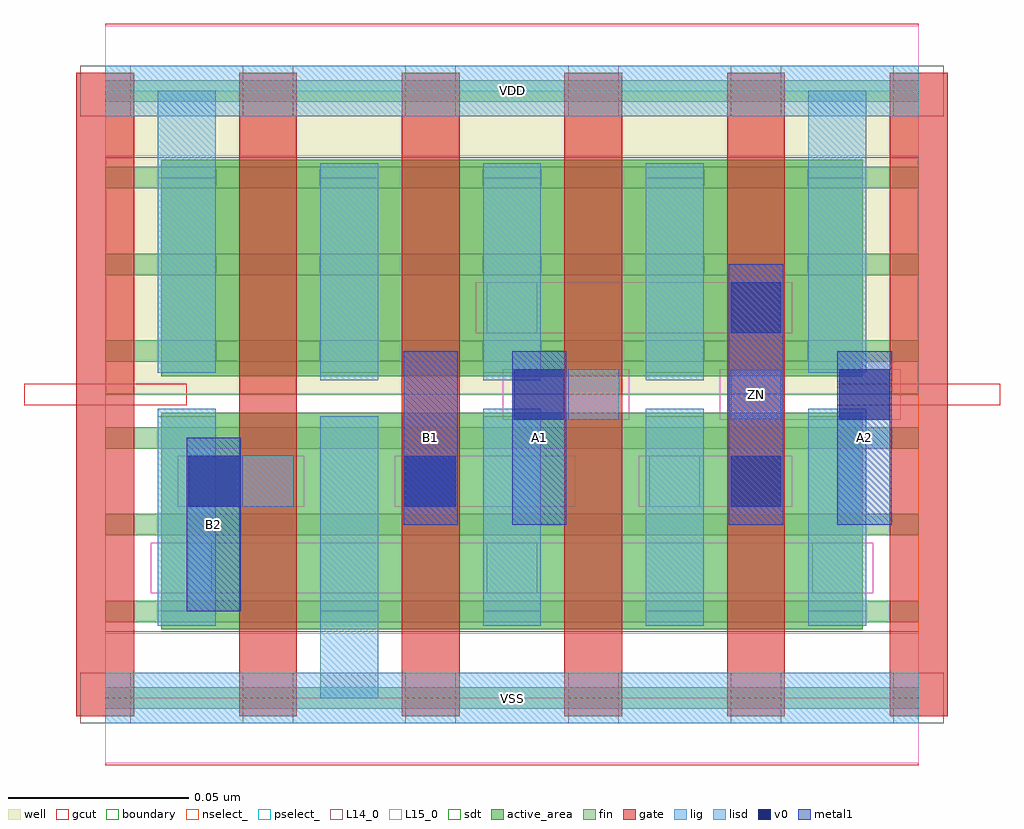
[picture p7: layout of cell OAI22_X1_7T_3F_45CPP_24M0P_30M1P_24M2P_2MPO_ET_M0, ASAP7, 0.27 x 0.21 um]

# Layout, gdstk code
import gdstk
lib = gdstk.Library(unit=1e-6, precision=2.5e-10)
def R(c, l, rs):  # rectangles x0, y0, x1, y1
    for r in rs: c.add(gdstk.rectangle(r[:2], r[2:], *l))
def A(c, l, x, y, w, h, nx, ny, dx, dy):  # array of equal rectangles
    R(c, l, [(x+i*dx, y+j*dy, x+i*dx+w, y+j*dy+h) for i in range(nx) for j in range(ny)])
well = (1, 0)
fin = (2, 0)
gate = (7, 0)
gcut = (10, 0)
active_area = (11, 0)
nselect_ = (12, 0)
pselect_ = (13, 0)
L14_0 = (14, 0)
L15_0 = (15, 0)
lig = (16, 0)
lisd = (17, 0)
v0 = (18, 0)
metal1 = (19, 0)
sdt = (88, 0)
boundary = (100, 0)

oai22_x1_7t_3f_45cpp_24m = lib.new_cell('OAI22_X1_7T_3F_45CPP_24M0P_30M1P_24M2P_2MPO_ET_M0')
R(oai22_x1_7t_3f_45cpp_24m, well, [(0,0.084,0.225,0.168)])
A(oai22_x1_7t_3f_45cpp_24m, fin, 0, -0.003, 0.225, 0.006, 1, 8, 0, 0.024)
A(oai22_x1_7t_3f_45cpp_24m, gate, -0.008, -0.005, 0.016, 0.178, 6, 1, 0.045, 0)
R(oai22_x1_7t_3f_45cpp_24m, gcut, [(0,-0.0185,0.225,0.0185), (-0.0225,0.081,0.0225,0.087), (0.2025,0.081,0.2475,0.087), (0,0.1495,0.225,0.1865)])
A(oai22_x1_7t_3f_45cpp_24m, active_area, 0.0155, 0.019, 0.059, 0.06, 4, 2, 0.045, 0.07)
R(oai22_x1_7t_3f_45cpp_24m, nselect_, [(0,0,0.225,0.084)])
R(oai22_x1_7t_3f_45cpp_24m, pselect_, [(0,0.084,0.225,0.168)])
A(oai22_x1_7t_3f_45cpp_24m, L14_0, -0.007, -0.007, 0.014, 0.014, 6, 2, 0.045, 0.168)
A(oai22_x1_7t_3f_45cpp_24m, L14_0, 0.0155, 0.029, 0.014, 0.014, 3, 1, 0.09, 0)
R(oai22_x1_7t_3f_45cpp_24m, L14_0, [(0.038,0.053,0.052,0.067), (0.083,0.053,0.097,0.067), (0.1505,0.053,0.1645,0.067), (0.128,0.077,0.142,0.091), (0.173,0.077,0.187,0.091), (0.1055,0.101,0.1195,0.115)])
R(oai22_x1_7t_3f_45cpp_24m, L15_0, [(0,-0.018,0.225,0.018), (0.0125,0.029,0.2125,0.043), (0.02,0.053,0.055,0.067), (0.08,0.053,0.13,0.067), (0.1475,0.053,0.19,0.067), (0.11,0.077,0.145,0.091), (0.17,0.077,0.22,0.091), (0.1025,0.101,0.19,0.115), (0,0.15,0.225,0.186)])
R(oai22_x1_7t_3f_45cpp_24m, lig, [(0,-0.007,0.225,0.007), (0.038,0.053,0.052,0.067), (0.083,0.053,0.097,0.067), (0.128,0.077,0.142,0.091), (0.173,0.077,0.187,0.091), (0,0.161,0.225,0.175)])
A(oai22_x1_7t_3f_45cpp_24m, lisd, 0.1045, 0.02, 0.016, 0.06, 3, 1, 0.045, 0)
A(oai22_x1_7t_3f_45cpp_24m, lisd, 0.0595, 0.088, 0.016, 0.06, 3, 1, 0.045, 0)
R(oai22_x1_7t_3f_45cpp_24m, lisd, [(0.0595,0,0.0755,0.078), (0.0145,0.02,0.0305,0.08), (0.0145,0.09,0.0305,0.168), (0.1945,0.09,0.2105,0.168)])
R(oai22_x1_7t_3f_45cpp_24m, v0, [(0.023,0.053,0.037,0.067), (0.083,0.053,0.097,0.067), (0.173,0.053,0.187,0.067), (0.113,0.077,0.127,0.091), (0.203,0.077,0.217,0.091), (0.173,0.101,0.187,0.115)])
R(oai22_x1_7t_3f_45cpp_24m, metal1, [(0.0225,0.024,0.0375,0.072), (0.0825,0.048,0.0975,0.096), (0.1125,0.048,0.1275,0.096), (0.1725,0.048,0.1875,0.12), (0.2025,0.048,0.2175,0.096)])
A(oai22_x1_7t_3f_45cpp_24m, sdt, 0.0145, 0.024, 0.016, 0.054, 5, 2, 0.045, 0.066)
R(oai22_x1_7t_3f_45cpp_24m, boundary, [(0,0,0.225,0.168)])
oai22_x1_7t_3f_45cpp_24m.add(gdstk.Label('A2', (0.21,0.072), layer=19, texttype=251))
oai22_x1_7t_3f_45cpp_24m.add(gdstk.Label('ZN', (0.18,0.084), layer=19, texttype=251))
oai22_x1_7t_3f_45cpp_24m.add(gdstk.Label('A1', (0.12,0.072), layer=19, texttype=251))
oai22_x1_7t_3f_45cpp_24m.add(gdstk.Label('B1', (0.09,0.072), layer=19, texttype=251))
oai22_x1_7t_3f_45cpp_24m.add(gdstk.Label('B2', (0.03,0.048), layer=19, texttype=251))
oai22_x1_7t_3f_45cpp_24m.add(gdstk.Label('VDD', (0.1125,0.168), layer=15, texttype=251))
oai22_x1_7t_3f_45cpp_24m.add(gdstk.Label('VSS', (0.1125,0), layer=15, texttype=251))
oai22_x1_7t_3f_45cpp_24m.add(gdstk.Label('VDD', (0.1125,0.168), layer=1, texttype=251))
oai22_x1_7t_3f_45cpp_24m.add(gdstk.Label('VSS', (0.1125,0), layer=3, texttype=251))

lib.write_gds('OAI22_X1_7T_3F_45CPP_24M0P_30M1P_24M2P_2MPO_ET_M0.gds')
